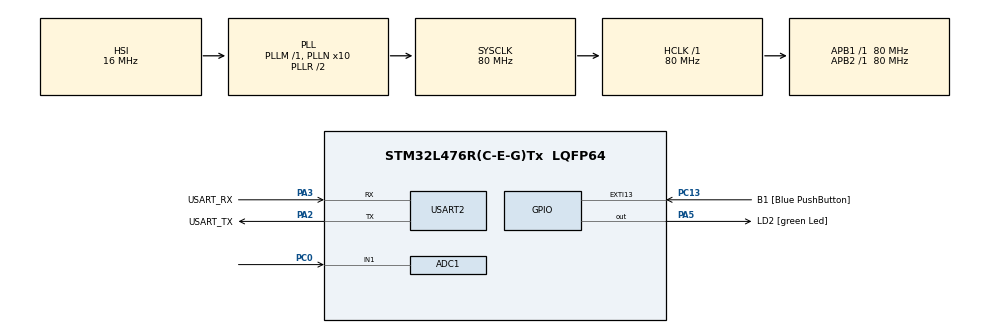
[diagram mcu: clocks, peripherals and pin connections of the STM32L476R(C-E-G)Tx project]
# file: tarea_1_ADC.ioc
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ADC1.Channel-0\#ChannelRegularConversion=ADC_CHANNEL_1
ADC1.ExternalTrigConv=ADC_EXTERNALTRIG_T2_TRGO
ADC1.NbrOfConversionFlag=1
ADC1.OffsetNumber-0\#ChannelRegularConversion=ADC_OFFSET_NONE
ADC1.Rank-0\#ChannelRegularConversion=1
ADC1.SamplingTime-0\#ChannelRegularConversion=ADC_SAMPLETIME_2CYCLES_5
ADC1.master=1
Mcu.Family=STM32L4
Mcu.Name=STM32L476R(C-E-G)Tx
Mcu.Package=LQFP64
NVIC.ADC1_2_IRQn=true\:0\:0\:false\:false\:true\:true\:true\:true
NVIC.EXTI15_10_IRQn=true\:0\:0\:false\:false\:true\:true\:true\:true
NVIC.PriorityGroup=NVIC_PRIORITYGROUP_4
PA13\ (JTMS-SWDIO).GPIO_Label=TMS
PA13\ (JTMS-SWDIO).Mode=Serial_Wire
PA13\ (JTMS-SWDIO).Signal=SYS_JTMS-SWDIO
PA14\ (JTCK-SWCLK).GPIO_Label=TCK
PA14\ (JTCK-SWCLK).Mode=Serial_Wire
PA14\ (JTCK-SWCLK).Signal=SYS_JTCK-SWCLK
PA2.GPIO_Label=USART_TX
PA2.GPIO_Mode=GPIO_MODE_AF_PP
PA2.GPIO_PuPd=GPIO_NOPULL
PA2.GPIO_Speed=GPIO_SPEED_FREQ_VERY_HIGH
PA2.Mode=Asynchronous
PA2.Signal=USART2_TX
PA3.GPIO_Label=USART_RX
PA3.GPIO_Mode=GPIO_MODE_AF_PP
PA3.GPIO_PuPd=GPIO_NOPULL
PA3.GPIO_Speed=GPIO_SPEED_FREQ_VERY_HIGH
PA3.Mode=Asynchronous
PA3.Signal=USART2_RX
PA5.GPIO_Label=LD2 [green Led]
PA5.GPIO_ModeDefaultOutputPP=GPIO_MODE_OUTPUT_PP
PA5.GPIO_PuPd=GPIO_NOPULL
PA5.GPIO_Speed=GPIO_SPEED_FREQ_LOW
PA5.Signal=GPIO_Output
PB3\ (JTDO-TRACESWO).GPIO_Label=SWO
PB3\ (JTDO-TRACESWO).Signal=SYS_JTDO-SWO
PC0.Signal=ADCx_IN1
PC13.GPIO_Label=B1 [Blue PushButton]
PC13.GPIO_ModeDefaultEXTI=GPIO_MODE_IT_FALLING
PC13.GPIO_PuPd=GPIO_NOPULL
PC13.Signal=GPXTI13
PC14-OSC32_IN\ (PC14).Mode=LSE-External-Oscillator
PC14-OSC32_IN\ (PC14).Signal=RCC_OSC32_IN
PC15-OSC32_OUT\ (PC15).Mode=LSE-External-Oscillator
PC15-OSC32_OUT\ (PC15).Signal=RCC_OSC32_OUT
PH0-OSC_IN\ (PH0).Signal=RCC_OSC_IN
PH1-OSC_OUT\ (PH1).Signal=RCC_OSC_OUT
ProjectManager.HeapSize=0x200
ProjectManager.StackSize=0x400
ProjectManager.TargetToolchain=STM32CubeIDE
RCC.ADCFreq_Value=64000000
RCC.AHBFreq_Value=80000000
RCC.APB1Freq_Value=80000000
RCC.APB1TimFreq_Value=80000000
RCC.APB2Freq_Value=80000000
RCC.APB2TimFreq_Value=80000000
RCC.CortexFreq_Value=80000000
RCC.HCLKFreq_Value=80000000
RCC.HSE_VALUE=8000000
RCC.HSI_VALUE=16000000
RCC.MSI_VALUE=4000000
RCC.PLLN=10
RCC.PLLSourceVirtual=RCC_PLLSOURCE_HSI
RCC.PREFETCH_ENABLE=1
RCC.SYSCLKFreq_VALUE=80000000
RCC.SYSCLKSource=RCC_SYSCLKSOURCE_PLLCLK
RCC.USBFreq_Value=64000000
RCC.VCOOutputFreq_Value=160000000
SH.ADCx_IN1.0=ADC1_IN1,IN1-Single-Ended
TIM2.Period=999
TIM2.Prescaler=799
TIM2.TIM_MasterOutputTrigger=TIM_TRGO_UPDATE
USART2.VirtualMode-Asynchronous=VM_ASYNC
VP_TIM2_VS_ClockSourceINT.Mode=Internal
board=NUCLEO-L476RG

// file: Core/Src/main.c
/* USER CODE BEGIN Header */
/**
  ******************************************************************************
  * @file           : main.c
  * @brief          : Main program body
  ******************************************************************************
  * @attention
  *
  * Copyright (c) 2026 STMicroelectronics.
  * All rights reserved.
  *
  * This software is licensed under terms that can be found in the LICENSE file
  * in the root directory of this software component.
  * If no LICENSE file comes with this software, it is provided AS-IS.
  *
  ******************************************************************************
  */
/* USER CODE END Header */
#include "main.h"

/* USER CODE BEGIN Includes */
#include <stdio.h>
#include <string.h>
/* USER CODE END Includes */

ADC_HandleTypeDef hadc1;

TIM_HandleTypeDef htim2;

UART_HandleTypeDef huart2;

/* USER CODE BEGIN PV */

#define DATA_BUFFER_SIZE 200
uint16_t adc_buffer[DATA_BUFFER_SIZE]; // Buffer para 2 segundos de datos considerando que la frecuencia de muestreo es de 100Hz
uint8_t sample_count = 0;     // Contador de muestras
uint8_t capture_active = 0;    // Bandera de estado
uint8_t data_ready = 0;			//Flag data lista para enviar por uart
/* USER CODE END PV */

void SystemClock_Config(void);
static void MX_GPIO_Init(void);
static void MX_USART2_UART_Init(void);
static void MX_ADC1_Init(void);
static void MX_TIM2_Init(void);

int main(void)
{

  /* MCU Configuration--------------------------------------------------------*/

  /* Reset of all peripherals, Initializes the Flash interface and the Systick. */
  HAL_Init();

  /* Configure the system clock */
  SystemClock_Config();

  /* Initialize all configured peripherals */
  MX_GPIO_Init();
  MX_USART2_UART_Init();
  MX_ADC1_Init();
  MX_TIM2_Init();

  /* Infinite loop */
  /* USER CODE BEGIN WHILE */
  while (1)
  {
	if(data_ready){
		printf("\r\n--- INICIO DE DATOS ---\r\n");
		for (int i = 0; i < 200; i++)
		{
			// Formato: Indice, Valor_ADC (0-4095)
			printf("%d,%u\r\n", i, adc_buffer[i]);
		}

		printf("--- FIN DE DATOS ---\r\n");
		data_ready=0;
	}
    /* USER CODE END WHILE */

  }
}

void SystemClock_Config(void)
{
  RCC_OscInitTypeDef RCC_OscInitStruct = {0};
  RCC_ClkInitTypeDef RCC_ClkInitStruct = {0};

  /** Configure the main internal regulator output voltage
  */
  if (HAL_PWREx_ControlVoltageScaling(PWR_REGULATOR_VOLTAGE_SCALE1) != HAL_OK)
  {
    Error_Handler();
  }

  /** Initializes the RCC Oscillators according to the specified parameters
  * in the RCC_OscInitTypeDef structure.
  */
  RCC_OscInitStruct.OscillatorType = RCC_OSCILLATORTYPE_HSI;
  RCC_OscInitStruct.HSIState = RCC_HSI_ON;
  RCC_OscInitStruct.HSICalibrationValue = RCC_HSICALIBRATION_DEFAULT;
  RCC_OscInitStruct.PLL.PLLState = RCC_PLL_ON;
  RCC_OscInitStruct.PLL.PLLSource = RCC_PLLSOURCE_HSI;
  RCC_OscInitStruct.PLL.PLLM = 1;
  RCC_OscInitStruct.PLL.PLLN = 10;
  RCC_OscInitStruct.PLL.PLLP = RCC_PLLP_DIV7;
  RCC_OscInitStruct.PLL.PLLQ = RCC_PLLQ_DIV2;
  RCC_OscInitStruct.PLL.PLLR = RCC_PLLR_DIV2;
  if (HAL_RCC_OscConfig(&RCC_OscInitStruct) != HAL_OK)
  {
    Error_Handler();
  }

  /** Initializes the CPU, AHB and APB buses clocks
  */
  RCC_ClkInitStruct.ClockType = RCC_CLOCKTYPE_HCLK|RCC_CLOCKTYPE_SYSCLK
                              |RCC_CLOCKTYPE_PCLK1|RCC_CLOCKTYPE_PCLK2;
  RCC_ClkInitStruct.SYSCLKSource = RCC_SYSCLKSOURCE_PLLCLK;
  RCC_ClkInitStruct.AHBCLKDivider = RCC_SYSCLK_DIV1;
  RCC_ClkInitStruct.APB1CLKDivider = RCC_HCLK_DIV1;
  RCC_ClkInitStruct.APB2CLKDivider = RCC_HCLK_DIV1;

  if (HAL_RCC_ClockConfig(&RCC_ClkInitStruct, FLASH_LATENCY_4) != HAL_OK)
  {
    Error_Handler();
  }
}

static void MX_ADC1_Init(void)
{

  ADC_MultiModeTypeDef multimode = {0};
  ADC_ChannelConfTypeDef sConfig = {0};

  /** Common config
  */
  hadc1.Instance = ADC1;
  hadc1.Init.ClockPrescaler = ADC_CLOCK_ASYNC_DIV1;
  hadc1.Init.Resolution = ADC_RESOLUTION_12B;
  hadc1.Init.DataAlign = ADC_DATAALIGN_RIGHT;
  hadc1.Init.ScanConvMode = ADC_SCAN_DISABLE;
  hadc1.Init.EOCSelection = ADC_EOC_SINGLE_CONV;
  hadc1.Init.LowPowerAutoWait = DISABLE;
  hadc1.Init.ContinuousConvMode = DISABLE;
  hadc1.Init.NbrOfConversion = 1;
  hadc1.Init.DiscontinuousConvMode = DISABLE;
  hadc1.Init.ExternalTrigConv = ADC_EXTERNALTRIG_T2_TRGO;
  hadc1.Init.ExternalTrigConvEdge = ADC_EXTERNALTRIGCONVEDGE_RISING;
  hadc1.Init.DMAContinuousRequests = DISABLE;
  hadc1.Init.Overrun = ADC_OVR_DATA_PRESERVED;
  hadc1.Init.OversamplingMode = DISABLE;
  if (HAL_ADC_Init(&hadc1) != HAL_OK)
  {
    Error_Handler();
  }

  /** Configure the ADC multi-mode
  */
  multimode.Mode = ADC_MODE_INDEPENDENT;
  if (HAL_ADCEx_MultiModeConfigChannel(&hadc1, &multimode) != HAL_OK)
  {
    Error_Handler();
  }

  /** Configure Regular Channel
  */
  sConfig.Channel = ADC_CHANNEL_1;
  sConfig.Rank = ADC_REGULAR_RANK_1;
  sConfig.SamplingTime = ADC_SAMPLETIME_2CYCLES_5;
  sConfig.SingleDiff = ADC_SINGLE_ENDED;
  sConfig.OffsetNumber = ADC_OFFSET_NONE;
  sConfig.Offset = 0;
  if (HAL_ADC_ConfigChannel(&hadc1, &sConfig) != HAL_OK)
  {
    Error_Handler();
  }

}

static void MX_TIM2_Init(void)
{

  TIM_ClockConfigTypeDef sClockSourceConfig = {0};
  TIM_MasterConfigTypeDef sMasterConfig = {0};

  htim2.Instance = TIM2;
  htim2.Init.Prescaler = 799;
  htim2.Init.CounterMode = TIM_COUNTERMODE_UP;
  htim2.Init.Period = 999;
  htim2.Init.ClockDivision = TIM_CLOCKDIVISION_DIV1;
  htim2.Init.AutoReloadPreload = TIM_AUTORELOAD_PRELOAD_DISABLE;
  if (HAL_TIM_Base_Init(&htim2) != HAL_OK)
  {
    Error_Handler();
  }
  sClockSourceConfig.ClockSource = TIM_CLOCKSOURCE_INTERNAL;
  if (HAL_TIM_ConfigClockSource(&htim2, &sClockSourceConfig) != HAL_OK)
  {
    Error_Handler();
  }
  sMasterConfig.MasterOutputTrigger = TIM_TRGO_UPDATE;
  sMasterConfig.MasterSlaveMode = TIM_MASTERSLAVEMODE_DISABLE;
  if (HAL_TIMEx_MasterConfigSynchronization(&htim2, &sMasterConfig) != HAL_OK)
  {
    Error_Handler();
  }

}

static void MX_USART2_UART_Init(void)
{

  huart2.Instance = USART2;
  huart2.Init.BaudRate = 115200;
  huart2.Init.WordLength = UART_WORDLENGTH_8B;
  huart2.Init.StopBits = UART_STOPBITS_1;
  huart2.Init.Parity = UART_PARITY_NONE;
  huart2.Init.Mode = UART_MODE_TX_RX;
  huart2.Init.HwFlowCtl = UART_HWCONTROL_NONE;
  huart2.Init.OverSampling = UART_OVERSAMPLING_16;
  huart2.Init.OneBitSampling = UART_ONE_BIT_SAMPLE_DISABLE;
  huart2.AdvancedInit.AdvFeatureInit = UART_ADVFEATURE_NO_INIT;
  if (HAL_UART_Init(&huart2) != HAL_OK)
  {
    Error_Handler();
  }

}

static void MX_GPIO_Init(void)
{
  GPIO_InitTypeDef GPIO_InitStruct = {0};

  /* GPIO Ports Clock Enable */
  __HAL_RCC_GPIOC_CLK_ENABLE();
  __HAL_RCC_GPIOH_CLK_ENABLE();
  __HAL_RCC_GPIOA_CLK_ENABLE();
  __HAL_RCC_GPIOB_CLK_ENABLE();

  /*Configure GPIO pin Output Level */
  HAL_GPIO_WritePin(LD2_GPIO_Port, LD2_Pin, GPIO_PIN_RESET);

  /*Configure GPIO pin : B1_Pin */
  GPIO_InitStruct.Pin = B1_Pin;
  GPIO_InitStruct.Mode = GPIO_MODE_IT_FALLING;
  GPIO_InitStruct.Pull = GPIO_NOPULL;
  HAL_GPIO_Init(B1_GPIO_Port, &GPIO_InitStruct);

  /*Configure GPIO pin : LD2_Pin */
  GPIO_InitStruct.Pin = LD2_Pin;
  GPIO_InitStruct.Mode = GPIO_MODE_OUTPUT_PP;
  GPIO_InitStruct.Pull = GPIO_NOPULL;
  GPIO_InitStruct.Speed = GPIO_SPEED_FREQ_LOW;
  HAL_GPIO_Init(LD2_GPIO_Port, &GPIO_InitStruct);

  /* EXTI interrupt init*/
  HAL_NVIC_SetPriority(EXTI15_10_IRQn, 0, 0);
  HAL_NVIC_EnableIRQ(EXTI15_10_IRQn);

}

/* USER CODE BEGIN 4 */
void HAL_GPIO_EXTI_Callback(uint16_t GPIO_Pin)
{
    if (GPIO_Pin == B1_Pin && capture_active == 0)
    {
    	//Levantar pin

        sample_count = 0;      // Reiniciamos contador
        capture_active = 1;    // Marcamos que estamos capturando

        // Iniciamos el ADC en modo interrupción (Modo CPU)
        HAL_ADC_Start_IT(&hadc1);
        // Iniciamos el Timer para que empiece a dar los "golpes" de muestreo
        HAL_TIM_Base_Start(&htim2);

        //Bajar pin
    }
}

void HAL_ADC_ConvCpltCallback(ADC_HandleTypeDef* hadc)
{
	//Levantar pin DATOS!!: Pulsos cada 10ms, a frecuencia de muestreo! (100Hz en este caso) Foto 27! Ancho de pulso medido (tiempo utilización CPU) 1.24us. Foto 28.
    if (hadc->Instance == ADC1)
    {
        if (sample_count < DATA_BUFFER_SIZE)
        {
        	HAL_GPIO_WritePin(LD2_GPIO_Port, LD2_Pin, GPIO_PIN_SET);
            // La CPU lee el registro y lo guarda en el arreglo
            adc_buffer[sample_count] = HAL_ADC_GetValue(hadc);
            sample_count++;
        }
        else
        {
            // ¡Ya pasaron los 2 segundos! (200 muestras)
            HAL_ADC_Stop_IT(hadc);      // Detenemos el ADC
            HAL_TIM_Base_Stop(&htim2);   // Detenemos el Timer
            capture_active = 0;         // Liberamos para la próxima vez
            data_ready=1;				//Se alza flag para comenzar la transferencia de datos
        }
    }
    HAL_GPIO_WritePin(LD2_GPIO_Port, LD2_Pin, GPIO_PIN_RESET);
    //Bajar pin
}

//Redireccionamiento de printf
int __io_putchar(int ch)
{
  // Mandamos un caracter a la vez por la UART2
  HAL_UART_Transmit(&huart2, (uint8_t *)&ch, 1, HAL_MAX_DELAY);
  return ch;
}

/* USER CODE END 4 */

void Error_Handler(void)
{
  __disable_irq();
  while (1)
  {
  }
}
